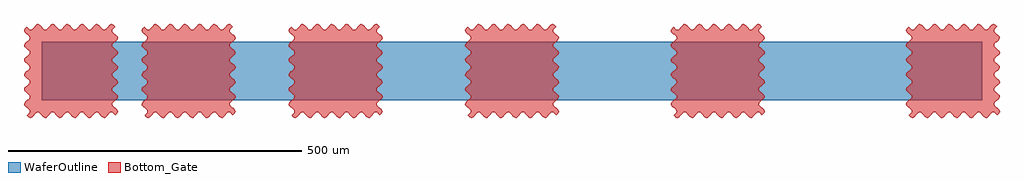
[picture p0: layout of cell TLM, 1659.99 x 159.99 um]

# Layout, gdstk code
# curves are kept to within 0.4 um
import gdstk
lib = gdstk.Library(unit=1e-6, precision=1e-09)
def R(c, l, rs):  # rectangles x0, y0, x1, y1
    for r in rs: c.add(gdstk.rectangle(r[:2], r[2:], *l))
def P(c, l, *ps):  # polygons
    for p in ps: c.add(gdstk.Polygon(p, *l))
WaferOutline = (1, 0)
Bottom_Gate = (2, 0)

singleohmiccontact_1 = lib.new_cell('SingleOhmicContact$1')
P(singleohmiccontact_1, Bottom_Gate, [(-68.939,-79.994),(-71.97,-78.45),(-75,-75),(-70.452,-70.455),(-70.275,-67.424),(-72.709,-64.394),(-78.091,-59.848),(-79.949,-56.818),(-79.073,-53.788),(-70.927,-46.212),(-70.051,-43.182),(-71.909,-40.152),(-78.779,-34.091),(-79.994,-31.061),(-78.45,-28.03),(-71.55,-21.97),(-70.006,-18.939),(-71.221,-15.909),(-78.091,-9.848),(-79.949,-6.818),(-79.073,-3.788),(-70.927,3.788),(-70.051,6.818),(-71.909,9.848),(-78.779,15.909),(-79.994,18.939),(-78.45,21.97),(-71.55,28.03),(-70.006,31.061),(-71.221,34.091),(-78.091,40.152),(-79.949,43.182),(-79.073,46.212),(-70.927,53.788),(-70.051,56.818),(-71.909,59.848),(-77.291,64.394),(-79.725,67.424),(-79.994,68.939),(-78.45,71.97),(-75,75),(-70.455,70.452),(-67.424,70.275),(-64.394,72.709),(-59.848,78.091),(-56.818,79.949),(-53.788,79.073),(-46.212,70.927),(-43.182,70.051),(-40.152,71.909),(-34.091,78.779),(-31.061,79.994),(-28.03,78.45),(-21.97,71.55),(-18.939,70.006),(-15.909,71.221),(-9.848,78.091),(-6.818,79.949),(-3.788,79.073),(3.788,70.927),(6.818,70.051),(9.848,71.909),(15.909,78.779),(18.939,79.994),(21.97,78.45),(28.03,71.55),(31.061,70.006),(34.091,71.221),(40.152,78.091),(43.182,79.949),(46.212,79.073),(53.788,70.927),(56.818,70.051),(59.848,71.909),(64.394,77.291),(67.424,79.725),(68.939,79.994),(71.97,78.45),(75,75),(70.452,70.455),(70.275,67.424),(72.709,64.394),(78.091,59.848),(79.949,56.818),(79.073,53.788),(70.927,46.212),(70.051,43.182),(71.909,40.152),(78.779,34.091),(79.994,31.061),(78.45,28.03),(71.55,21.97),(70.006,18.939),(71.221,15.909),(78.091,9.848),(79.949,6.818),(79.073,3.788),(70.927,-3.788),(70.051,-6.818),(71.909,-9.848),(78.779,-15.909),(79.994,-18.939),(78.45,-21.97),(71.55,-28.03),(70.006,-31.061),(71.221,-34.091),(78.091,-40.152),(79.949,-43.182),(79.073,-46.212),(70.927,-53.788),(70.051,-56.818),(71.909,-59.848),(77.291,-64.394),(79.725,-67.424),(79.994,-68.939),(78.45,-71.97),(75,-75),(70.455,-70.452),(67.424,-70.275),(64.394,-72.709),(59.848,-78.091),(56.818,-79.949),(53.788,-79.073),(46.212,-70.927),(43.182,-70.051),(40.152,-71.909),(34.091,-78.779),(31.061,-79.994),(28.03,-78.45),(21.97,-71.55),(18.939,-70.006),(15.909,-71.221),(9.848,-78.091),(6.818,-79.949),(3.788,-79.073),(-3.788,-70.927),(-6.818,-70.051),(-9.848,-71.909),(-15.909,-78.779),(-18.939,-79.994),(-21.97,-78.45),(-28.03,-71.55),(-31.061,-70.006),(-34.091,-71.221),(-40.152,-78.091),(-43.182,-79.949),(-46.212,-79.073),(-53.788,-70.927),(-56.818,-70.051),(-59.848,-71.909),(-65.909,-78.779)])

tlm = lib.new_cell('TLM')
R(tlm, WaferOutline, [(-800,-50,800,50)])
tlm.add(gdstk.Reference(singleohmiccontact_1, (-750,0)))
tlm.add(gdstk.Reference(singleohmiccontact_1, (-550,0)))
tlm.add(gdstk.Reference(singleohmiccontact_1, (750,0)))
tlm.add(gdstk.Reference(singleohmiccontact_1, (-300,0)))
tlm.add(gdstk.Reference(singleohmiccontact_1, (0,0)))
tlm.add(gdstk.Reference(singleohmiccontact_1, (350,0)))

lib.write_gds('TLM.gds')
